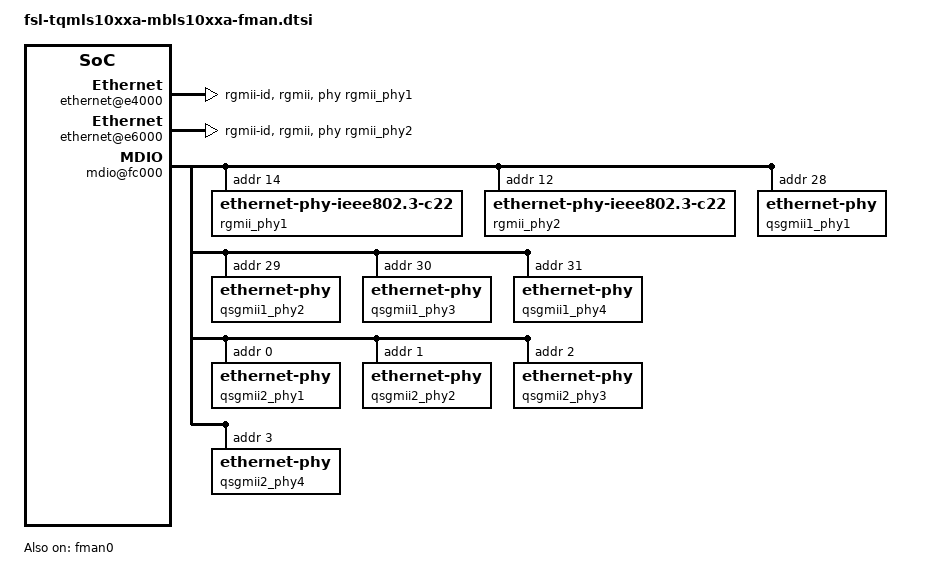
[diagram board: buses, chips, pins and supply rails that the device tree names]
// SPDX-License-Identifier: (GPL-2.0-or-later OR MIT)
/*
 * Device Tree Include file for MBLS10xxA from TQ (FMAN related sections)
 *
 * Copyright (c) 2019,2023 TQ-Systems GmbH <u-boot@ew.tq-group.com>,
 * D-82229 Seefeld, Germany.
 * Author: Timo Herbrecher, Gregor Herburger
 */

#include <dt-bindings/net/ti-dp83867.h>

/ {
	aliases {
		rgmii_phy1 = &rgmii_phy1;
		rgmii_phy2 = &rgmii_phy2;
		qsgmii_s1_p1 = &qsgmii1_phy1;
		qsgmii_s1_p2 = &qsgmii1_phy2;
		qsgmii_s1_p3 = &qsgmii1_phy3;
		qsgmii_s1_p4 = &qsgmii1_phy4;
		qsgmii_s2_p1 = &qsgmii2_phy1;
		qsgmii_s2_p2 = &qsgmii2_phy2;
		qsgmii_s2_p3 = &qsgmii2_phy3;
		qsgmii_s2_p4 = &qsgmii2_phy4;
	};
};

&fman0 {
	status = "okay";

	ethernet@e0000 { /* EMAC.1 */
	};

	ethernet@e2000 { /* EMAC.2 */
	};

	ethernet@e4000 { /* EMAC.3 */
		phy-handle = <&rgmii_phy1>;
		phy-connection-type = "rgmii";
		phy-mode = "rgmii-id";
		status = "okay";
	};

	ethernet@e6000 { /* EMAC.4 */
		phy-handle = <&rgmii_phy2>;
		phy-connection-type = "rgmii";
		phy-mode = "rgmii-id";
		status = "okay";
	};

	ethernet@e8000 { /* EMAC.5 */
	};

	ethernet@ea000 { /* EMAC.6 */
	};

	ethernet@f0000 { /* EMAC.9 */
	};

	ethernet@f2000 { /* EMAC.10 */
	};

	mdio@fc000 {
		rgmii_phy1: ethernet-phy@0e {
			compatible = "ethernet-phy-ieee802.3-c22";
			reg = <0x0e>;
			ti,rx-internal-delay = <DP83867_RGMIIDCTL_1_50_NS>;
			ti,tx-internal-delay = <DP83867_RGMIIDCTL_1_50_NS>;
			ti,fifo-depth = <DP83867_PHYCR_FIFO_DEPTH_8_B_NIB>;
			/* LED1: Link, LED2: activity */
			ti,led-function = <0x0100>;
			/* LED1: active High, LED2: active Low driven by phy function */
			ti,led-ctrl = <0x1041>;
		};

		rgmii_phy2: ethernet-phy@0c {
			compatible = "ethernet-phy-ieee802.3-c22";
			reg = <0x0c>;
			ti,rx-internal-delay = <DP83867_RGMIIDCTL_1_50_NS>;
			ti,tx-internal-delay = <DP83867_RGMIIDCTL_1_50_NS>;
			ti,fifo-depth = <DP83867_PHYCR_FIFO_DEPTH_8_B_NIB>;
			/* LED1: Link, LED2: activity */
			ti,led-function = <0x0100>;
			/* LED1: active High, LED2: active Low driven by phy function */
			ti,led-ctrl = <0x1041>;
		};

		qsgmii1_phy1: ethernet-phy@1c {
			reg = <0x1c>;
		};

		qsgmii1_phy2: ethernet-phy@1d {
			reg = <0x1d>;
		};

		qsgmii1_phy3: ethernet-phy@1e {
			reg = <0x1e>;
		};

		qsgmii1_phy4: ethernet-phy@1f {
			reg = <0x1f>;
		};

		qsgmii2_phy1: ethernet-phy@00 {
			reg = <0x00>;
		};

		qsgmii2_phy2: ethernet-phy@01 {
			reg = <0x01>;
		};

		qsgmii2_phy3: ethernet-phy@02 {
			reg = <0x02>;
		};

		qsgmii2_phy4: ethernet-phy@03 {
			reg = <0x03>;
		};
	};
};

